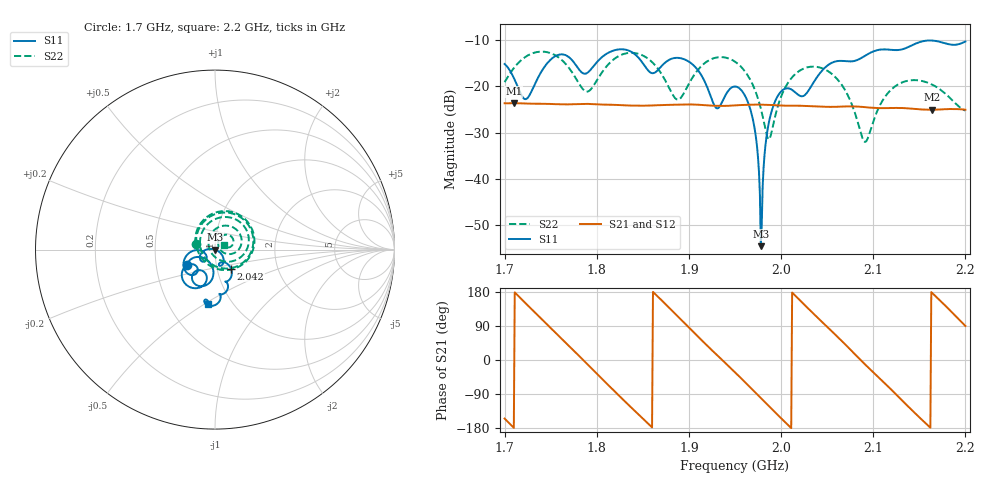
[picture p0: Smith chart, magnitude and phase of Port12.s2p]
# Hz S RI R 50
! CMT, CMT808U, 21440046, 21.4.3/4
! Date: 12/11/2025 6:03:08 PM
! Data: Format (Calibration Info)
! Freq	S11:Re/Im(F2)	S41:Re/Im(F2)	S14:Re/Im(F2)	S44:Re/Im(F2)
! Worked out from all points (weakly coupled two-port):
!   501 points, 1.7 GHz to 2.2 GHz, reference 50 ohm
!   highest |S21| = -23.63 dB at 1.71 GHz (marker M1); lowest = -25.0 dB at 2.164 GHz (marker M2)
!   lowest |S11| = -54.6 dB at 1.978 GHz (marker M3), VSWR 1.00, Z = 49.8 + j0.0485 ohm
!   |S11| at or under -10 dB: start of sweep to end of sweep
!   |S22| runs from -32.0 to -12.4 dB; largest |S21 - S12| = 0.00066
!   S11 on the Smith chart (normalised r, x): 1.7 GHz: 0.72, -0.12; 2.042 GHz: 1.17, -0.25; 2.2 GHz: 0.78, -0.52
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1.7e9  -0.1541 -0.0832  -0.0594 -0.0282  -0.059 -0.0285  -0.1077 0.0285
1.71e9  -0.1156 -0.044  -0.0658 -0.00114  -0.0656 -0.00158  -0.0904 0.1296
1.724e9  -0.0379 -0.0631  -0.0546 0.0358  -0.0547 0.0353  0.024 0.2121
1.748e9  -0.03 -0.1841  0.00126 0.0646  0.000837 0.0645  0.2145 0.0903
1.784e9  -0.0823 -0.1145  0.0646 0.00327  0.0644 0.00371  -0.0233 -0.0931
1.824e9  -0.1448 -0.2065  -0.00412 -0.0627  -0.00354 -0.0626  0.0546 0.2068
1.867e9  -0.0964 -0.1187  -0.0606 0.0156  -0.0606 0.0151  0.1202 -0.0939
1.888e9  -0.1656 -0.1195  -0.0271 0.0575  -0.0275 0.0572  -0.0606 -0.0388
1.93e9  -0.0524 -0.025  0.0598 0.015  0.0596 0.0155  0.1287 0.1607
1.95e9  -0.0799 -0.0597  0.0527 -0.0333  0.0529 -0.0328  0.1844 0.0208
1.969e9  -0.0458 0.00099  0.0129 -0.062  0.0135 -0.0619  0.0816 -0.0671
1.974e9  -0.0214 0.004  -0.000593 -0.0635  -3.87e-05 -0.0635  0.0455 -0.0645
1.978e9  -0.00179 0.000487  -0.0114 -0.0624  -0.0109 -0.0625  0.019 -0.0544
1.985e9  0.0278 -0.0167  -0.0293 -0.0561  -0.0288 -0.0563  -0.0173 -0.0225
1.994e9  0.0476 -0.0523  -0.0474 -0.0407  -0.0471 -0.0411  -0.0363 0.0336
2.034e9  0.0692 -0.0797  -0.035 0.0499  -0.0354 0.0496  0.1291 0.1011
2.042e9  0.0891 -0.1061  -0.0167 0.0581  -0.0173 0.0579  0.1466 0.0654
2.068e9  0.0614 -0.1784  0.0428 0.0429  0.0425 0.0431  0.0934 -0.0236
2.091e9  0.0725 -0.2019  0.0585 -0.0116  0.0586 -0.0112  0.0231 0.00966
2.117e9  0.0277 -0.249  0.018 -0.0554  0.0185 -0.0552  0.0412 0.0768
2.164e9  -0.0359 -0.3124  -0.0558 0.00318  -0.056 0.0027  0.1001 0.0303
2.2e9  -0.0373 -0.3046  0.000133 0.0559  -0.000334 0.0559  0.0497 0.0235
